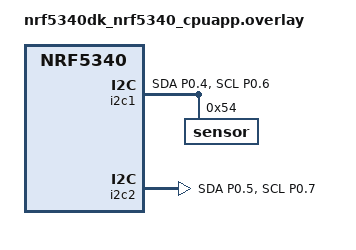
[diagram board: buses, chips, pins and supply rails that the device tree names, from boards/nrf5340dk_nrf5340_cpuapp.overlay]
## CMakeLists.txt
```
#
# Copyright (c) 2026 Nordic Semiconductor ASA
#
# SPDX-License-Identifier: Apache-2.0
#

cmake_minimum_required(VERSION 3.20.0)

find_package(Zephyr REQUIRED HINTS $ENV{ZEPHYR_BASE})

project(i2c_rtio_loopback)

target_sources(app PRIVATE src/main.c)
```

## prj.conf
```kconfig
CONFIG_I2C=y
CONFIG_NRFX_TWIS=y
CONFIG_RTIO=y
CONFIG_I2C_RTIO=y

CONFIG_ZTEST=y
CONFIG_TEST_RANDOM_GENERATOR=y
```

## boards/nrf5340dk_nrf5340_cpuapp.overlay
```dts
/*
 * Copyright (c) 2026 Nordic Semiconductor ASA
 *
 * SPDX-License-Identifier: Apache-2.0
 */

&pinctrl {
	i2c1_default: i2c1_default {
		group1 {
			psels = <NRF_PSEL(TWIS_SDA, 0, 4)>,
				<NRF_PSEL(TWIS_SCL, 0, 6)>;
			bias-pull-up;
		};
	};

	i2c1_sleep: i2c1_sleep {
		group1 {
			psels = <NRF_PSEL(TWIS_SDA, 0, 4)>,
				<NRF_PSEL(TWIS_SCL, 0, 6)>;
			low-power-enable;
		};
	};

	i2c2_default: i2c2_default {
		group1 {
			psels = <NRF_PSEL(TWIS_SDA, 0, 5)>,
				<NRF_PSEL(TWIS_SCL, 0, 7)>;
			bias-pull-up;
		};
	};

	i2c2_sleep: i2c2_sleep {
		group1 {
			psels = <NRF_PSEL(TWIS_SDA, 0, 5)>,
				<NRF_PSEL(TWIS_SCL, 0, 7)>;
			low-power-enable;
		};
	};
};

dut_twim: &i2c1 {
	compatible = "nordic,nrf-twim";
	status = "okay";
	zephyr,concat-buf-size = <256>;
	pinctrl-0 = <&i2c1_default>;
	pinctrl-1 = <&i2c1_sleep>;
	pinctrl-names = "default", "sleep";

	sensor: sensor@54 {
		reg = <0x54>;
	};
};

dut_twis: &i2c2 {
	compatible = "nordic,nrf-twis";
	status = "okay";
	pinctrl-0 = <&i2c2_default>;
	pinctrl-1 = <&i2c2_sleep>;
	pinctrl-names = "default", "sleep";
};
```

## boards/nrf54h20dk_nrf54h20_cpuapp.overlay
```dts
/*
 * Copyright (c) 2026 Nordic Semiconductor ASA
 *
 * SPDX-License-Identifier: Apache-2.0
 */

&pinctrl {
	i2c130_default: i2c130_default {
		group1 {
			psels = <NRF_PSEL(TWIM_SDA, 2, 8)>,
				<NRF_PSEL(TWIM_SCL, 1, 2)>;
			bias-pull-up;
		};
	};

	i2c130_sleep: i2c130_sleep {
		group1 {
			psels = <NRF_PSEL(TWIM_SDA, 2, 8)>,
				<NRF_PSEL(TWIM_SCL, 1, 2)>;
			low-power-enable;
		};
	};

	i2c131_default: i2c131_default {
		group1 {
			psels = <NRF_PSEL(TWIM_SDA, 2, 9)>,
				<NRF_PSEL(TWIM_SCL, 1, 3)>;
			bias-pull-up;
		};
	};

	i2c131_sleep: i2c131_sleep {
		group1 {
			psels = <NRF_PSEL(TWIM_SDA, 2, 9)>,
				<NRF_PSEL(TWIM_SCL, 1, 3)>;
			low-power-enable;
		};
	};
};

dut_twim: &i2c130 {
	clock-frequency = <I2C_BITRATE_STANDARD>;
	pinctrl-0 = <&i2c130_default>;
	pinctrl-1 = <&i2c130_sleep>;
	pinctrl-names = "default", "sleep";
	zephyr,concat-buf-size = <256>;
	memory-regions = <&cpuapp_dma_region>;
	status = "okay";

	sensor: sensor@54 {
		reg = <0x54>;
	};
};

dut_twis: &i2c131 {
	compatible = "nordic,nrf-twis";
	clock-frequency = <I2C_BITRATE_STANDARD>;
	pinctrl-0 = <&i2c131_default>;
	pinctrl-1 = <&i2c131_sleep>;
	pinctrl-names = "default", "sleep";
	memory-regions = <&cpuapp_dma_region>;
	status = "okay";
};
```

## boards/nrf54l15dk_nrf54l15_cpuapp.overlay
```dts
/*
 * Copyright (c) 2026 Nordic Semiconductor ASA
 *
 * SPDX-License-Identifier: Apache-2.0
 */

/ {
	aliases {
		i2c-slave = &i2c22;
		tst-timer = &timer20;
	};
};

&pinctrl {
	i2c21_default_alt: i2c21_default_alt {
		group1 {
			psels = <NRF_PSEL(TWIM_SDA, 1, 8)>,
				<NRF_PSEL(TWIM_SCL, 1, 12)>;
		};
	};

	i2c21_sleep_alt: i2c21_sleep_alt {
		group1 {
			psels = <NRF_PSEL(TWIM_SDA, 1, 8)>,
				<NRF_PSEL(TWIM_SCL, 1, 12)>;
			low-power-enable;
		};
	};

	i2c22_default_alt: i2c22_default_alt {
		group1 {
			psels = <NRF_PSEL(TWIS_SDA, 1, 9)>,
				<NRF_PSEL(TWIS_SCL, 1, 13)>;
			bias-pull-up;
		};
	};

	i2c22_sleep_alt: i2c22_sleep_alt {
		group1 {
			psels = <NRF_PSEL(TWIS_SDA, 1, 9)>,
				<NRF_PSEL(TWIS_SCL, 1, 13)>;
			low-power-enable;
		};
	};
};

dut_twim: &i2c21 {
	compatible = "nordic,nrf-twim";
	status = "okay";
	pinctrl-0 = <&i2c21_default_alt>;
	pinctrl-1 = <&i2c21_sleep_alt>;
	pinctrl-names = "default", "sleep";

	sensor: sensor@54 {
		reg = <0x54>;
	};
};

dut_twis: &i2c22 {
	compatible = "nordic,nrf-twis";
	status = "okay";
	pinctrl-0 = <&i2c22_default_alt>;
	pinctrl-1 = <&i2c22_sleep_alt>;
	pinctrl-names = "default", "sleep";
};

&timer20 {
	status = "okay";
};
```

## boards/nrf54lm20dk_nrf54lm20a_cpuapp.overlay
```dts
/*
 * Copyright (c) 2026 Nordic Semiconductor ASA
 *
 * SPDX-License-Identifier: Apache-2.0
 */

&pinctrl {
	i2c21_default_alt: i2c21_default_alt {
		group1 {
			psels = <NRF_PSEL(TWIM_SDA, 1, 13)>,
				<NRF_PSEL(TWIM_SCL, 1, 23)>;
		};
	};

	i2c21_sleep_alt: i2c21_sleep_alt {
		group1 {
			psels = <NRF_PSEL(TWIM_SDA, 1, 13)>,
				<NRF_PSEL(TWIM_SCL, 1, 23)>;
			low-power-enable;
		};
	};

	i2c22_default_alt: i2c22_default_alt {
		group1 {
			psels = <NRF_PSEL(TWIS_SDA, 1, 14)>,
				<NRF_PSEL(TWIS_SCL, 1, 24)>;
			bias-pull-up;
		};
	};

	i2c22_sleep_alt: i2c22_sleep_alt {
		group1 {
			psels = <NRF_PSEL(TWIS_SDA, 1, 14)>,
				<NRF_PSEL(TWIS_SCL, 1, 24)>;
			low-power-enable;
		};
	};
};

dut_twim: &i2c21 {
	compatible = "nordic,nrf-twim";
	status = "okay";
	pinctrl-0 = <&i2c21_default_alt>;
	pinctrl-1 = <&i2c21_sleep_alt>;
	pinctrl-names = "default", "sleep";

	sensor: sensor@54 {
		reg = <0x54>;
	};
};

dut_twis: &i2c22 {
	compatible = "nordic,nrf-twis";
	status = "okay";
	pinctrl-0 = <&i2c22_default_alt>;
	pinctrl-1 = <&i2c22_sleep_alt>;
	pinctrl-names = "default", "sleep";
};
```

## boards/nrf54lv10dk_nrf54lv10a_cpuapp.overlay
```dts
/*
 * Copyright (c) 2026 Nordic Semiconductor ASA
 *
 * SPDX-License-Identifier: Apache-2.0
 */

&pinctrl {
	i2c20_default_alt: i2c20_default_alt {
		group1 {
			psels = <NRF_PSEL(TWIM_SDA, 1, 0)>,
				<NRF_PSEL(TWIM_SCL, 1, 2)>;
		};
	};

	i2c20_sleep_alt: i2c20_sleep_alt {
		group1 {
			psels = <NRF_PSEL(TWIM_SDA, 1, 0)>,
				<NRF_PSEL(TWIM_SCL, 1, 2)>;
			low-power-enable;
		};
	};

	i2c21_default_alt: i2c21_default_alt {
		group1 {
			psels = <NRF_PSEL(TWIS_SDA, 1, 1)>,
				<NRF_PSEL(TWIS_SCL, 1, 3)>;
			bias-pull-up;
		};
	};

	i2c21_sleep_alt: i2c21_sleep_alt {
		group1 {
			psels = <NRF_PSEL(TWIS_SDA, 1, 1)>,
				<NRF_PSEL(TWIS_SCL, 1, 3)>;
			low-power-enable;
		};
	};
};

dut_twim: &i2c20 {
	compatible = "nordic,nrf-twim";
	status = "okay";
	pinctrl-0 = <&i2c20_default_alt>;
	pinctrl-1 = <&i2c20_sleep_alt>;
	pinctrl-names = "default", "sleep";

	sensor: sensor@54 {
		reg = <0x54>;
	};
};

dut_twis: &i2c21 {
	compatible = "nordic,nrf-twis";
	status = "okay";
	pinctrl-0 = <&i2c21_default_alt>;
	pinctrl-1 = <&i2c21_sleep_alt>;
	pinctrl-names = "default", "sleep";
};
```

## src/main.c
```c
/*
 * Copyright (c) 2026 Nordic Semiconductor ASA
 *
 * SPDX-License-Identifier: Apache-2.0
 */

#include <zephyr/kernel.h>
#include <zephyr/drivers/i2c.h>
#include <zephyr/linker/devicetree_regions.h>
#include <zephyr/device.h>
#include <zephyr/drivers/pinctrl.h>
#include <zephyr/rtio/rtio.h>
#include <zephyr/drivers/i2c/rtio.h>
#include <nrfx_twis.h>
#include <zephyr/random/random.h>
#include <zephyr/ztest.h>

#define NODE_TWIM DT_NODELABEL(dut_twim)
#define NODE_TWIS DT_NODELABEL(dut_twis)

#define TWIM_DEV_CONFIG (I2C_SPEED_SET(I2C_SPEED_STANDARD) | I2C_MODE_CONTROLLER)

#define TWIS_MEMORY_SECTION                                                                        \
	COND_CODE_1(DT_NODE_HAS_PROP(NODE_TWIS, memory_regions),                                   \
		    (__attribute__((__section__(                                                   \
			    LINKER_DT_NODE_REGION_NAME(DT_PHANDLE(NODE_TWIS, memory_regions)))))), \
		    ())

#define I2C_DEVICE_ADDR DT_REG_ADDR(DT_NODELABEL(sensor))
#define TEST_DATA_SIZE  8

/*
 * TWIM - RTIO driver
 * TWIS - standard TWIS driver
 */

RTIO_DEFINE(twim_rtio_context, 4, 2);

I2C_IODEV_DEFINE(twim_rtio_io_dev, NODE_TWIM, I2C_DEVICE_ADDR);

static nrfx_twis_t twis = {.p_reg = (NRF_TWIS_Type *)DT_REG_ADDR(NODE_TWIS)};

static uint8_t i2c_slave_buffer[TEST_DATA_SIZE] TWIS_MEMORY_SECTION;
static uint8_t i2c_master_buffer[TEST_DATA_SIZE];

struct i2c_api_twis_fixture {
	uint8_t addr;
	uint8_t *const master_buffer;
	uint8_t *const slave_buffer;
};

static struct i2c_api_twis_fixture fixture = {
	.addr = I2C_DEVICE_ADDR,
	.master_buffer = i2c_master_buffer,
	.slave_buffer = i2c_slave_buffer,
};

static void i2s_slave_handler(nrfx_twis_event_t const *p_event)
{
	switch (p_event->type) {
	case NRFX_TWIS_EVT_READ_REQ:
		nrfx_twis_tx_prepare(&twis, i2c_slave_buffer, TEST_DATA_SIZE);
		break;
	case NRFX_TWIS_EVT_READ_DONE:
		break;
	case NRFX_TWIS_EVT_WRITE_REQ:
		nrfx_twis_rx_prepare(&twis, i2c_slave_buffer, TEST_DATA_SIZE);
		break;
	case NRFX_TWIS_EVT_WRITE_DONE:
		break;
	default:
		break;
	}
}

static void cleanup_buffers(void *nullp)
{
	memset(fixture.slave_buffer, 0x00, TEST_DATA_SIZE);
	memset(fixture.master_buffer, 0xFF, TEST_DATA_SIZE);
}

static void prepare_test_data(uint8_t *buffer, size_t buffer_size)
{
	for (size_t counter = 0; counter < buffer_size; counter++) {
		buffer[counter] = sys_rand8_get();
	}
}

static void validate_buffers(void)
{
	for (unsigned int i = 0; i < TEST_DATA_SIZE; i++) {
		if (fixture.master_buffer[i] != fixture.slave_buffer[i]) {
			zexpect_equal(fixture.master_buffer[i], fixture.slave_buffer[i],
				      "master_buffer[%u] (0x%x) != slave_buffer[%u] (0x%x)\n", i,
				      fixture.master_buffer[i], i, fixture.slave_buffer[i]);
		}
	}
}

static void twim_rtio_configure(void)
{
	struct rtio_sqe *sqe;
	struct rtio_cqe *cqe;

	sqe = rtio_sqe_acquire(&twim_rtio_context);
	rtio_sqe_prep_i2c_configure(sqe, &twim_rtio_io_dev, 0, TWIM_DEV_CONFIG, NULL);

	rtio_submit(&twim_rtio_context, 1);

	cqe = rtio_cqe_consume_block(&twim_rtio_context);
	zassert_ok(cqe->result, "[RTIO CONFIG] rtio_cqe_consume failed: %d\n", cqe->result);
	rtio_cqe_release(&twim_rtio_context, cqe);
}

static void twim_rtio_write(void)
{
	int ret;
	struct rtio_sqe *wr_sqe;
	struct rtio_cqe *wr_cqe;

	TC_PRINT("TWIM RTIO WRITE\n");

	wr_sqe = rtio_sqe_acquire(&twim_rtio_context);
	rtio_sqe_prep_write(wr_sqe, &twim_rtio_io_dev, 0, fixture.master_buffer, TEST_DATA_SIZE,
			    NULL);

	wr_sqe->iodev_flags = RTIO_IODEV_I2C_STOP | RTIO_IODEV_I2C_RESTART;

	ret = rtio_submit(&twim_rtio_context, 1);

	zassert_ok(ret, "[RTIO WRITE] rtio_submit failed: %d\n", ret);

	wr_cqe = rtio_cqe_consume_block(&twim_rtio_context);

	zassert_ok(ret, "[RTIO WRITE] rtio_cqe_consume_block failed: %d\n", wr_cqe->result);

	rtio_cqe_release(&twim_rtio_context, wr_cqe);
}

static void twim_rtio_read(void)
{
	int ret;
	struct rtio_sqe *rd_sqe;
	struct rtio_cqe *rd_cqe;

	TC_PRINT("TWIM RTIO READ\n");

	rd_sqe = rtio_sqe_acquire(&twim_rtio_context);
	rtio_sqe_prep_read(rd_sqe, &twim_rtio_io_dev, 0, fixture.master_buffer, TEST_DATA_SIZE,
			   NULL);

	rd_sqe->iodev_flags = RTIO_IODEV_I2C_STOP | RTIO_IODEV_I2C_RESTART;

	ret = rtio_submit(&twim_rtio_context, 1);

	zassert_ok(ret, "[RTIO READ] rtio_submit failed: %d\n", ret);

	rd_cqe = rtio_cqe_consume_block(&twim_rtio_context);

	zassert_ok(ret, "[RTIO READ] rtio_cqe_consume_block failed: %d\n", rd_cqe->result);

	rtio_cqe_release(&twim_rtio_context, rd_cqe);
}

static void *test_setup(void)
{
	int ret;

	const nrfx_twis_config_t config = {
		.addr = {fixture.addr, 0},
		.skip_gpio_cfg = true,
		.skip_psel_cfg = true,
	};

	zassert_equal(0, nrfx_twis_init(&twis, &config, i2s_slave_handler),
		      "TWIS initialization failed");

	PINCTRL_DT_DEFINE(NODE_TWIS);

	ret = pinctrl_apply_state(PINCTRL_DT_DEV_CONFIG_GET(NODE_TWIS), PINCTRL_STATE_DEFAULT);

	zassert_ok(ret);

	IRQ_CONNECT(DT_IRQN(NODE_TWIS), DT_IRQ(NODE_TWIS, priority), nrfx_twis_irq_handler, &twis,
		    0);

	nrfx_twis_enable(&twis);
	TC_PRINT("TWIS CFG done\n");

	twim_rtio_configure();
	TC_PRINT("TWIM RTIO CFG done\n");

	return NULL;
}

ZTEST(twim_rtio_twis_loopback, test_twim_rtio_twis_write)
{
	TC_PRINT("TWIM RTIO write test\n");

	prepare_test_data(fixture.master_buffer, TEST_DATA_SIZE);
	twim_rtio_write();
	validate_buffers();
}

ZTEST(twim_rtio_twis_loopback, test_twim_rtio_twis_read)
{
	TC_PRINT("TWIM RTIO write test\n");

	prepare_test_data(fixture.slave_buffer, TEST_DATA_SIZE);
	twim_rtio_read();
	validate_buffers();
}

/*
 * Test case is only usable for devices that use a bounce buffer
 * for example NRF54H20, but can be run on any device
 */
ZTEST(twim_rtio_twis_loopback, test_twim_rtio_twis_rx_buffers_handling)
{
	int ret;
	struct rtio_sqe *wr_sqe;
	struct rtio_cqe *wr_cqe;

	static uint8_t i2c_aux_buffer[TEST_DATA_SIZE];

	TC_PRINT("TWIM RTIO RX buffers handling test\n");

	memset(fixture.slave_buffer, 0xDB, TEST_DATA_SIZE);
	twim_rtio_read();

	memset(fixture.master_buffer, 0x00, TEST_DATA_SIZE);
	memset(i2c_aux_buffer, 0xCD, TEST_DATA_SIZE);

	wr_sqe = rtio_sqe_acquire(&twim_rtio_context);
	rtio_sqe_prep_write(wr_sqe, &twim_rtio_io_dev, 0, i2c_aux_buffer, TEST_DATA_SIZE, NULL);

	wr_sqe->iodev_flags = RTIO_IODEV_I2C_STOP | RTIO_IODEV_I2C_RESTART;

	ret = rtio_submit(&twim_rtio_context, 1);

	zassert_ok(ret, "[RTIO WRITE] rtio_submit failed: %d\n", ret);

	wr_cqe = rtio_cqe_consume_block(&twim_rtio_context);

	zassert_ok(ret, "[RTIO WRITE] rtio_cqe_consume_block failed: %d\n", wr_cqe->result);

	rtio_cqe_release(&twim_rtio_context, wr_cqe);

	TC_PRINT("TWIM RTIO SEPARATE BUFFERS - done\n");

	zexpect_mem_equal(i2c_aux_buffer, fixture.slave_buffer, TEST_DATA_SIZE,
			  "Read data doe not match written data\n");

	zexpect_true(
		memcmp(i2c_aux_buffer, fixture.master_buffer, TEST_DATA_SIZE) != 0,
		"Buffer from the previous RTIO operation not used but modified by the driver anyway\n");
}

ZTEST_SUITE(twim_rtio_twis_loopback, NULL, test_setup, cleanup_buffers, cleanup_buffers, NULL);
```
